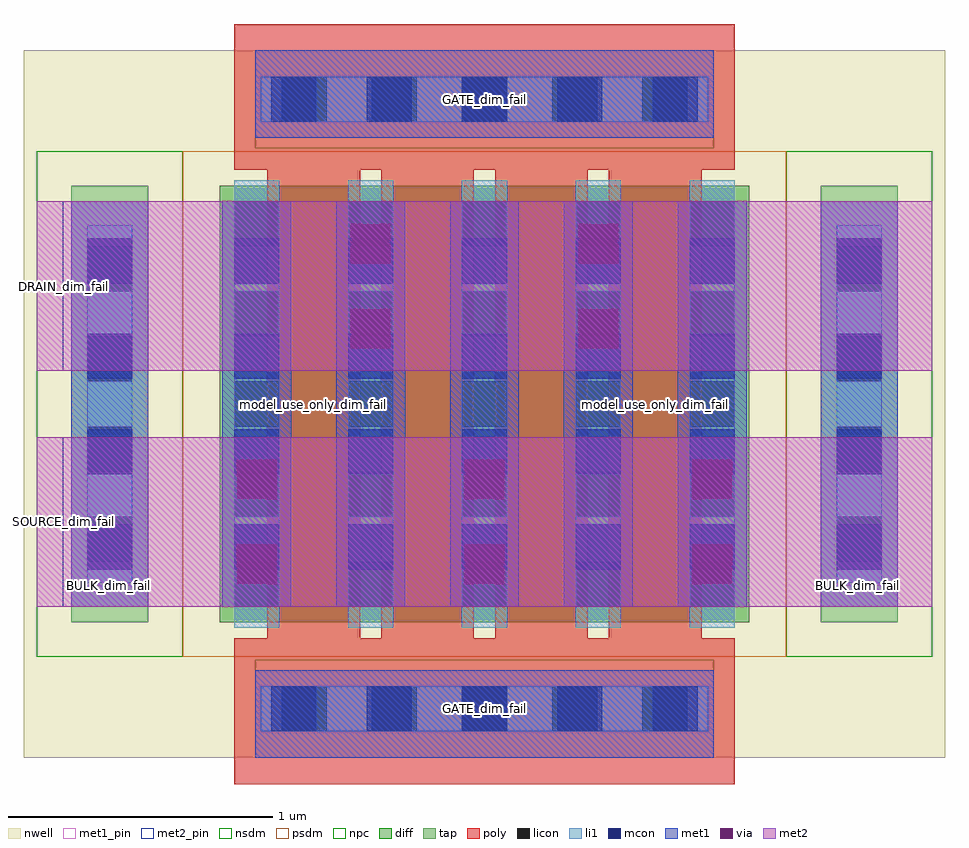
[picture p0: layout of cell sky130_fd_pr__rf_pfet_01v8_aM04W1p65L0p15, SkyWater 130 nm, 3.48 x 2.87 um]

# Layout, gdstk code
import gdstk
lib = gdstk.Library(unit=1e-6, precision=1e-09)
def R(c, l, rs):  # rectangles x0, y0, x1, y1
    for r in rs: c.add(gdstk.rectangle(r[:2], r[2:], *l))
def A(c, l, x, y, w, h, nx, ny, dx, dy):  # array of equal rectangles
    R(c, l, [(x+i*dx, y+j*dy, x+i*dx+w, y+j*dy+h) for i in range(nx) for j in range(ny)])
def P(c, l, *ps):  # polygons
    for p in ps: c.add(gdstk.Polygon(p, *l))
nwell = (64, 20)
diff = (65, 20)
tap = (65, 44)
poly = (66, 20)
licon = (66, 44)
li1 = (67, 20)
mcon = (67, 44)
met1_pin = (68, 16)
met1 = (68, 20)
via = (68, 44)
met2_pin = (69, 16)
met2 = (69, 20)
nsdm = (93, 44)
psdm = (94, 20)
npc = (95, 20)

sky130_fd_pr__rf_pfet_01 = lib.new_cell('sky130_fd_pr__rf_pfet_01v8_aM04W1p65L0p15')
R(sky130_fd_pr__rf_pfet_01, nwell, [(0,0,3.48,2.67)])
R(sky130_fd_pr__rf_pfet_01, diff, [(0.74,0.51,2.74,2.16)])
R(sky130_fd_pr__rf_pfet_01, tap, [(0.18,0.51,0.47,2.16), (3.01,0.51,3.3,2.16)])
P(sky130_fd_pr__rf_pfet_01, poly, [(0.795,-0.1),(0.795,0.45),(0.92,0.45),(0.92,2.22),(1.27,2.22),(1.27,0.45),(1.35,0.45),(1.35,2.22),(1.7,2.22),(1.7,0.45),(1.78,0.45),(1.78,2.22),(2.13,2.22),(2.13,0.45),(2.21,0.45),(2.21,2.22),(0.795,2.22),(0.795,2.77),(2.685,2.77),(2.685,2.22),(2.56,2.22),(2.56,0.45),(2.685,0.45),(2.685,-0.1)])
A(sky130_fd_pr__rf_pfet_01, licon, 0.975, 0.1, 0.17, 0.17, 5, 2, 0.34, 2.3)
A(sky130_fd_pr__rf_pfet_01, licon, 0.795, 0.57, 0.17, 0.17, 3, 1, 0.43, 0)
A(sky130_fd_pr__rf_pfet_01, licon, 1.655, 0.57, 0.17, 0.17, 3, 1, 0.43, 0)
A(sky130_fd_pr__rf_pfet_01, licon, 0.24, 0.74, 0.17, 0.17, 1, 4, 0, 0.34)
A(sky130_fd_pr__rf_pfet_01, licon, 3.07, 0.74, 0.17, 0.17, 1, 4, 0, 0.34)
A(sky130_fd_pr__rf_pfet_01, licon, 0.795, 0.91, 0.17, 0.17, 5, 4, 0.43, 0.34)
R(sky130_fd_pr__rf_pfet_01, licon, [(0.795,0.57,0.965,0.74), (2.515,0.57,2.685,0.74)])
A(sky130_fd_pr__rf_pfet_01, li1, 0.795, 0.49, 0.17, 1.69, 5, 1, 0.43, 0)
R(sky130_fd_pr__rf_pfet_01, li1, [(0.895,0.1,2.585,0.27), (0.935,0.1,2.545,0.27), (0.24,0.66,0.41,2.01), (3.07,0.66,3.24,2.01), (0.895,2.4,2.585,2.57), (0.935,2.4,2.545,2.57)])
A(sky130_fd_pr__rf_pfet_01, mcon, 0.935, 0.1, 0.17, 0.17, 5, 2, 0.36, 2.3)
A(sky130_fd_pr__rf_pfet_01, mcon, 0.24, 0.71, 0.17, 0.17, 1, 4, 0, 0.36)
A(sky130_fd_pr__rf_pfet_01, mcon, 0.795, 0.71, 0.17, 0.17, 5, 4, 0.43, 0.36)
A(sky130_fd_pr__rf_pfet_01, mcon, 3.07, 0.71, 0.17, 0.17, 1, 4, 0, 0.36)
R(sky130_fd_pr__rf_pfet_01, met1_pin, [(0.875,0,2.605,0.33), (0.18,0.57,0.47,0.65), (3.01,0.57,3.3,0.65), (0.875,2.34,2.605,2.67)])
A(sky130_fd_pr__rf_pfet_01, met1, 0.75, 0.57, 0.26, 1.53, 5, 1, 0.43, 0)
R(sky130_fd_pr__rf_pfet_01, met1, [(0.875,0,2.605,0.33), (0.18,0.57,0.47,2.1), (3.01,0.57,3.3,2.1), (0.875,2.34,2.605,2.67)])
A(sky130_fd_pr__rf_pfet_01, via, 0.805, 0.655, 0.15, 0.15, 3, 2, 0.86, 0.32)
R(sky130_fd_pr__rf_pfet_01, via, [(1.235,1.545,1.385,1.695), (2.095,1.545,2.245,1.695), (1.235,1.865,1.385,2.015), (2.095,1.865,2.245,2.015)])
R(sky130_fd_pr__rf_pfet_01, met2_pin, [(0.05,0.57,0.15,1.21), (0.05,1.46,0.15,2.1)])
R(sky130_fd_pr__rf_pfet_01, met2, [(0.05,0.57,3.43,1.21), (0.05,1.46,3.43,2.1)])
R(sky130_fd_pr__rf_pfet_01, nsdm, [(0.05,0.38,0.6,2.29), (2.88,0.38,3.43,2.29)])
R(sky130_fd_pr__rf_pfet_01, psdm, [(0.6,0.38,2.88,2.29)])
R(sky130_fd_pr__rf_pfet_01, npc, [(0.875,0,2.605,0.37), (0.875,2.3,2.605,2.67)])
sky130_fd_pr__rf_pfet_01.add(gdstk.Label('model_use_only_dim_fail', (1.095,1.335), layer=66, texttype=83))
sky130_fd_pr__rf_pfet_01.add(gdstk.Label('model_use_only_dim_fail', (1.525,1.335), layer=66, texttype=83))
sky130_fd_pr__rf_pfet_01.add(gdstk.Label('model_use_only_dim_fail', (2.385,1.335), layer=66, texttype=83))
sky130_fd_pr__rf_pfet_01.add(gdstk.Label('model_use_only_dim_fail', (1.955,1.335), layer=66, texttype=83))
sky130_fd_pr__rf_pfet_01.add(gdstk.Label('DRAIN_dim_fail', (0.15,1.78), layer=69, texttype=5))
sky130_fd_pr__rf_pfet_01.add(gdstk.Label('SOURCE_dim_fail', (0.15,0.89), layer=69, texttype=5))
sky130_fd_pr__rf_pfet_01.add(gdstk.Label('BULK_dim_fail', (0.32,0.65), layer=68, texttype=5))
sky130_fd_pr__rf_pfet_01.add(gdstk.Label('GATE_dim_fail', (1.74,2.485), layer=68, texttype=5))
sky130_fd_pr__rf_pfet_01.add(gdstk.Label('GATE_dim_fail', (1.74,0.185), layer=68, texttype=5))
sky130_fd_pr__rf_pfet_01.add(gdstk.Label('BULK_dim_fail', (3.15,0.65), layer=68, texttype=5))

lib.write_gds('sky130_fd_pr__rf_pfet_01v8_aM04W1p65L0p15.gds')
